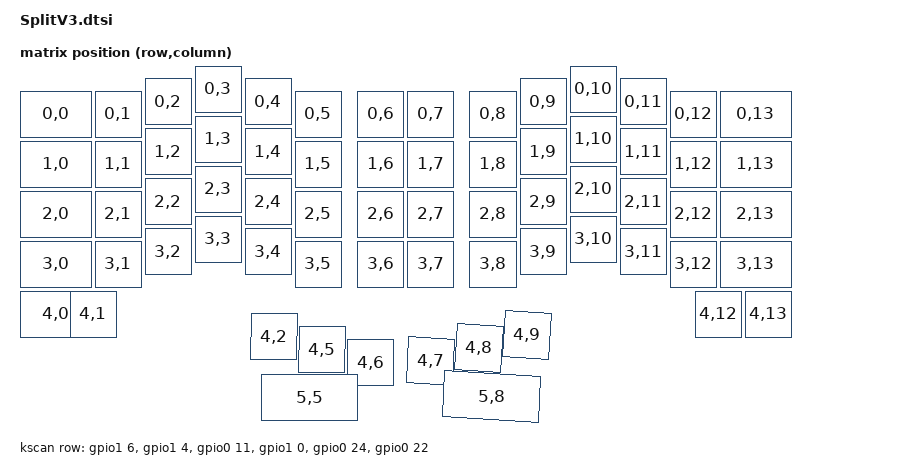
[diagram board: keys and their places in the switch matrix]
#include <dt-bindings/zmk/matrix_transform.h>
#include <physical_layouts.dtsi>

/ {
    chosen {
        zmk,kscan = &kscan;
        zmk,matrix_transform = &transform;
        zmk,battery = &vbatt;
        zephyr,display = &oled;
        zmk,physical-layout = &layout;
    };

    vbatt: vbatt {
        compatible = "zmk,battery-nrf-vddh";
    };

    kscan: kscan {
        compatible = "zmk,kscan-gpio-matrix";
        label = "kscan";
        diode-direction = "col2row";
        wakeup-source;

        row-gpios = <&gpio1 6 (GPIO_ACTIVE_HIGH | GPIO_PULL_DOWN)>,
                    <&gpio1 4 (GPIO_ACTIVE_HIGH | GPIO_PULL_DOWN)>,
                    <&gpio0 11 (GPIO_ACTIVE_HIGH | GPIO_PULL_DOWN)>,
                    <&gpio1 0 (GPIO_ACTIVE_HIGH | GPIO_PULL_DOWN)>,
                    <&gpio0 24 (GPIO_ACTIVE_HIGH | GPIO_PULL_DOWN)>,
                    <&gpio0 22 (GPIO_ACTIVE_HIGH | GPIO_PULL_DOWN)>;
    };

    transform: matrix_transform {
        compatible = "zmk,matrix-transform";
        rows = <6>;
        columns = <14>;

        map = <
                RC(0, 0) RC(0, 1) RC(0, 2) RC(0, 3) RC(0, 4) RC(0, 5) RC(0, 6) RC(0, 7) RC(0, 8) RC(0, 9) RC(0, 10) RC(0, 11) RC(0, 12) RC(0, 13)
                RC(1, 0) RC(1, 1) RC(1, 2) RC(1, 3) RC(1, 4) RC(1, 5) RC(1, 6) RC(1, 7) RC(1, 8) RC(1, 9) RC(1, 10) RC(1, 11) RC(1, 12) RC(1, 13)
                RC(2, 0) RC(2, 1) RC(2, 2) RC(2, 3) RC(2, 4) RC(2, 5) RC(2, 6) RC(2, 7) RC(2, 8) RC(2, 9) RC(2, 10) RC(2, 11) RC(2, 12) RC(2, 13)
                RC(3, 0) RC(3, 1) RC(3, 2) RC(3, 3) RC(3, 4) RC(3, 5) RC(3, 6) RC(3, 7) RC(3, 8) RC(3, 9) RC(3, 10) RC(3, 11) RC(3, 12) RC(3, 13)
                RC(4, 0) RC(4, 1)                   RC(4, 2) RC(4, 5) RC(4, 6) RC(4, 7) RC(4, 8) RC(4, 9)                     RC(4, 12) RC(4, 13)
                                                             RC(5, 5)                   RC(5, 8)
        >;
    };
};

layout: layout {
        compatible = "zmk,physical-layout";
        display-name = "Split 6x7";
        transform = <&transform>;
        kscan = <&kscan>;

        keys  //                     w   h    x    y     rot    rx    ry
            = <&key_physical_attrs 150 100    0    50       0     0     0>
            , <&key_physical_attrs 100 100  150    50       0     0     0>
            , <&key_physical_attrs 100 100  250    25       0     0     0>
            , <&key_physical_attrs 100 100  350    0        0     0     0>
            , <&key_physical_attrs 100 100  450    25       0     0     0>
            , <&key_physical_attrs 100 100  550    50       0     0     0>
            , <&key_physical_attrs 100 100  675    50       0     0     0>
            , <&key_physical_attrs 100 100  775    50       0     0     0>
            , <&key_physical_attrs 100 100  900    50       0     0     0>
            , <&key_physical_attrs 100 100 1000    25       0     0     0>
            , <&key_physical_attrs 100 100 1100    0        0     0     0>
            , <&key_physical_attrs 100 100 1200    25       0     0     0>
            , <&key_physical_attrs 100 100 1300    50       0     0     0>
            , <&key_physical_attrs 150 100 1400    50       0     0     0>

            , <&key_physical_attrs 150 100    0    150       0     0     0>
            , <&key_physical_attrs 100 100  150    150       0     0     0>
            , <&key_physical_attrs 100 100  250    125       0     0     0>
            , <&key_physical_attrs 100 100  350    100       0     0     0>
            , <&key_physical_attrs 100 100  450    125       0     0     0>
            , <&key_physical_attrs 100 100  550    150       0     0     0>
            , <&key_physical_attrs 100 100  675    150       0     0     0>
            , <&key_physical_attrs 100 100  775    150       0     0     0>
            , <&key_physical_attrs 100 100  900    150       0     0     0>
            , <&key_physical_attrs 100 100 1000    125       0     0     0>
            , <&key_physical_attrs 100 100 1100    100       0     0     0>
            , <&key_physical_attrs 100 100 1200    125       0     0     0>
            , <&key_physical_attrs 100 100 1300    150       0     0     0>
            , <&key_physical_attrs 150 100 1400    150       0     0     0>

            , <&key_physical_attrs 150 100    0    250       0     0     0>
            , <&key_physical_attrs 100 100  150    250       0     0     0>
            , <&key_physical_attrs 100 100  250    225       0     0     0>
            , <&key_physical_attrs 100 100  350    200       0     0     0>
            , <&key_physical_attrs 100 100  450    225       0     0     0>
            , <&key_physical_attrs 100 100  550    250       0     0     0>
            , <&key_physical_attrs 100 100  675    250       0     0     0>
            , <&key_physical_attrs 100 100  775    250       0     0     0>
            , <&key_physical_attrs 100 100  900    250       0     0     0>
            , <&key_physical_attrs 100 100 1000    225       0     0     0>
            , <&key_physical_attrs 100 100 1100    200       0     0     0>
            , <&key_physical_attrs 100 100 1200    225       0     0     0>
            , <&key_physical_attrs 100 100 1300    250       0     0     0>
            , <&key_physical_attrs 150 100 1400    250       0     0     0>

            , <&key_physical_attrs 150 100    0    350       0     0     0>
            , <&key_physical_attrs 100 100  150    350       0     0     0>
            , <&key_physical_attrs 100 100  250    325       0     0     0>
            , <&key_physical_attrs 100 100  350    300       0     0     0>
            , <&key_physical_attrs 100 100  450    325       0     0     0>
            , <&key_physical_attrs 100 100  550    350       0     0     0>
            , <&key_physical_attrs 100 100  675    350       0     0     0>
            , <&key_physical_attrs 100 100  775    350       0     0     0>
            , <&key_physical_attrs 100 100  900    350       0     0     0>
            , <&key_physical_attrs 100 100 1000    325       0     0     0>
            , <&key_physical_attrs 100 100 1100    300       0     0     0>
            , <&key_physical_attrs 100 100 1200    325       0     0     0>
            , <&key_physical_attrs 100 100 1300    350       0     0     0>
            , <&key_physical_attrs 150 100 1400    350       0     0     0>

            , <&key_physical_attrs 150 100    0    450       0     0     0>
            , <&key_physical_attrs 100 100  100    450       0     0     0>
            , <&key_physical_attrs 100 100  462    495       15    512   545>
            , <&key_physical_attrs 100 100  558    521       15    608   571>
            , <&key_physical_attrs 100 100  655    547       15    705   597>
            , <&key_physical_attrs 100 100  775    544       345   825   594>
            , <&key_physical_attrs 100 100  872    518       345   922   568>
            , <&key_physical_attrs 100 100  968    492       345   1018  542>
            , <&key_physical_attrs 100 100  1350   450       0     0     0>
            , <&key_physical_attrs 100 100  1450   450       0     0     0>

            , <&key_physical_attrs 200 100  483    617       15    583   667>
            , <&key_physical_attrs 200 100  847    615       345   947   665>
            ;
    };

&i2c0 {
	status = "okay";
    pinctrl-0 = <&i2c0_default>;
    pinctrl-1 = <&i2c0_sleep>;
	oled: sh1106@3c {
        compatible = "solomon,ssd1306fb";
        reg = <0x3c>;
        width = <128>;
        height = <64>;
        segment-offset = <0>;
        page-offset = <0>;
        display-offset = <0>;
        multiplex-ratio = <63>;
        segment-remap;
        com-invdir;
        com-sequential;
        inversion-on;
        prechargep = <0x22>;
	};
};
